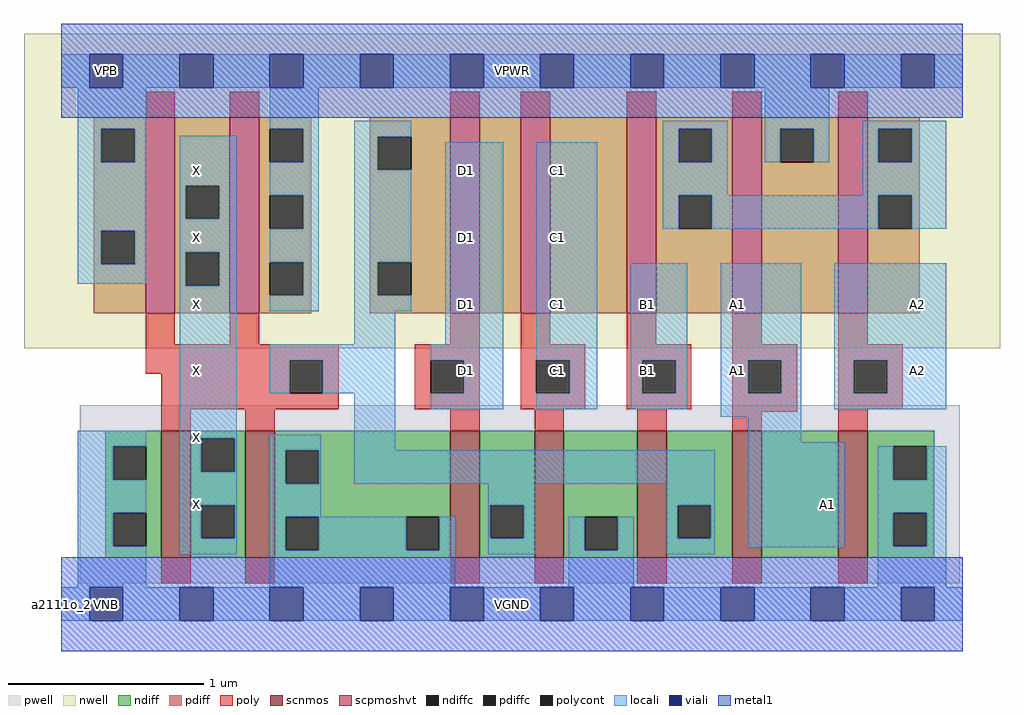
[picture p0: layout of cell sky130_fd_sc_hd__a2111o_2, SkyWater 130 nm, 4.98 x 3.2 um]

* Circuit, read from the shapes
.subckt sky130_fd_sc_hd__a2111o_2 A1 A2 B1 C1 D1 VGND VNB VPB VPWR X
XM1 X n1 VGND VNB sky130_fd_pr__nfet_01v8 w=0.65 l=0.15 m=2
XM2 n1 D1 VGND VNB sky130_fd_pr__nfet_01v8 w=0.65 l=0.15
XM3 VGND C1 n1 VNB sky130_fd_pr__nfet_01v8 w=0.65 l=0.15
XM4 n1 B1 VGND VNB sky130_fd_pr__nfet_01v8 w=0.65 l=0.15
XM5 n2 A1 n1 VNB sky130_fd_pr__nfet_01v8 w=0.65 l=0.15
XM6 VGND A2 n2 VNB sky130_fd_pr__nfet_01v8 w=0.65 l=0.15
XM7 X n1 VPWR VPB sky130_fd_pr__pfet_01v8_hvt w=1 l=0.15 m=2
XM8 n3 D1 n1 VPB sky130_fd_pr__pfet_01v8_hvt w=1 l=0.15
XM9 n4 C1 n3 VPB sky130_fd_pr__pfet_01v8_hvt w=1 l=0.15
XM10 n5 B1 n4 VPB sky130_fd_pr__pfet_01v8_hvt w=1 l=0.15
XM11 VPWR A1 n5 VPB sky130_fd_pr__pfet_01v8_hvt w=1 l=0.15
XM12 n5 A2 VPWR VPB sky130_fd_pr__pfet_01v8_hvt w=1 l=0.15
.ends

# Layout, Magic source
magic
tech sky130A
magscale 1 2
<< nwell >>
rect -38 261 958 582
<< pwell >>
rect 19 21 917 203
rect 29 -17 63 21
<< scnmos >>
rect 102 47 132 177
rect 188 47 218 177
rect 397 47 427 177
rect 483 47 513 177
rect 588 47 618 177
rect 685 47 715 177
rect 793 47 823 177
<< scpmoshvt >>
rect 86 297 116 497
rect 172 297 202 497
rect 397 297 427 497
rect 469 297 499 497
rect 577 297 607 497
rect 685 297 715 497
rect 793 297 823 497
<< ndiff >>
rect 45 161 102 177
rect 45 127 53 161
rect 87 127 102 161
rect 45 93 102 127
rect 45 59 53 93
rect 87 59 102 93
rect 45 47 102 59
rect 132 169 188 177
rect 132 135 143 169
rect 177 135 188 169
rect 132 101 188 135
rect 132 67 143 101
rect 177 67 188 101
rect 132 47 188 67
rect 218 157 397 177
rect 218 123 229 157
rect 263 123 397 157
rect 218 89 397 123
rect 218 55 229 89
rect 263 55 352 89
rect 386 55 397 89
rect 218 47 397 55
rect 427 101 483 177
rect 427 67 438 101
rect 472 67 483 101
rect 427 47 483 67
rect 513 89 588 177
rect 513 55 534 89
rect 568 55 588 89
rect 513 47 588 55
rect 618 101 685 177
rect 618 67 629 101
rect 663 67 685 101
rect 618 47 685 67
rect 715 47 793 177
rect 823 161 891 177
rect 823 127 849 161
rect 883 127 891 161
rect 823 93 891 127
rect 823 59 849 93
rect 883 59 891 93
rect 823 47 891 59
<< pdiff >>
rect 33 485 86 497
rect 33 451 41 485
rect 75 451 86 485
rect 33 381 86 451
rect 33 347 41 381
rect 75 347 86 381
rect 33 297 86 347
rect 116 427 172 497
rect 116 393 127 427
rect 161 393 172 427
rect 116 359 172 393
rect 116 325 127 359
rect 161 325 172 359
rect 116 297 172 325
rect 202 485 255 497
rect 202 451 213 485
rect 247 451 255 485
rect 202 417 255 451
rect 202 383 213 417
rect 247 383 255 417
rect 202 349 255 383
rect 202 315 213 349
rect 247 315 255 349
rect 202 297 255 315
rect 315 477 397 497
rect 315 443 323 477
rect 357 443 397 477
rect 315 349 397 443
rect 315 315 323 349
rect 357 315 397 349
rect 315 297 397 315
rect 427 297 469 497
rect 499 297 577 497
rect 607 485 685 497
rect 607 451 630 485
rect 664 451 685 485
rect 607 417 685 451
rect 607 383 630 417
rect 664 383 685 417
rect 607 297 685 383
rect 715 485 793 497
rect 715 451 734 485
rect 768 451 793 485
rect 715 297 793 451
rect 823 485 876 497
rect 823 451 834 485
rect 868 451 876 485
rect 823 417 876 451
rect 823 383 834 417
rect 868 383 876 417
rect 823 297 876 383
<< ndiffc >>
rect 53 127 87 161
rect 53 59 87 93
rect 143 135 177 169
rect 143 67 177 101
rect 229 123 263 157
rect 229 55 263 89
rect 352 55 386 89
rect 438 67 472 101
rect 534 55 568 89
rect 629 67 663 101
rect 849 127 883 161
rect 849 59 883 93
<< pdiffc >>
rect 41 451 75 485
rect 41 347 75 381
rect 127 393 161 427
rect 127 325 161 359
rect 213 451 247 485
rect 213 383 247 417
rect 213 315 247 349
rect 323 443 357 477
rect 323 315 357 349
rect 630 451 664 485
rect 630 383 664 417
rect 734 451 768 485
rect 834 451 868 485
rect 834 383 868 417
<< poly >>
rect 86 497 116 523
rect 172 497 202 523
rect 397 497 427 523
rect 469 497 499 523
rect 577 497 607 523
rect 685 497 715 523
rect 793 497 823 523
rect 86 265 116 297
rect 172 265 202 297
rect 397 265 427 297
rect 86 249 283 265
rect 86 235 233 249
rect 102 215 233 235
rect 267 215 283 249
rect 102 199 283 215
rect 361 249 427 265
rect 361 215 377 249
rect 411 215 427 249
rect 361 199 427 215
rect 469 265 499 297
rect 577 265 607 297
rect 685 265 715 297
rect 793 265 823 297
rect 469 249 535 265
rect 469 215 485 249
rect 519 215 535 249
rect 469 199 535 215
rect 577 249 643 265
rect 577 215 593 249
rect 627 215 643 249
rect 577 199 643 215
rect 685 249 751 265
rect 685 215 701 249
rect 735 215 751 249
rect 102 177 132 199
rect 188 177 218 199
rect 397 177 427 199
rect 483 177 513 199
rect 588 177 618 199
rect 685 196 751 215
rect 793 249 859 265
rect 793 215 809 249
rect 843 215 859 249
rect 793 199 859 215
rect 685 177 715 196
rect 793 177 823 199
rect 102 21 132 47
rect 188 21 218 47
rect 397 21 427 47
rect 483 21 513 47
rect 588 21 618 47
rect 685 21 715 47
rect 793 21 823 47
<< polycont >>
rect 233 215 267 249
rect 377 215 411 249
rect 485 215 519 249
rect 593 215 627 249
rect 701 215 735 249
rect 809 215 843 249
<< locali >>
rect 0 527 29 561
rect 63 527 121 561
rect 155 527 213 561
rect 247 527 305 561
rect 339 527 397 561
rect 431 527 489 561
rect 523 527 581 561
rect 615 527 673 561
rect 707 527 765 561
rect 799 527 857 561
rect 891 527 920 561
rect 17 485 87 527
rect 17 451 41 485
rect 75 451 87 485
rect 213 485 263 527
rect 17 381 87 451
rect 17 347 41 381
rect 75 347 87 381
rect 17 327 87 347
rect 121 427 179 478
rect 121 393 127 427
rect 161 393 179 427
rect 121 359 179 393
rect 121 325 127 359
rect 161 325 179 359
rect 17 161 87 177
rect 17 127 53 161
rect 17 93 87 127
rect 17 59 53 93
rect 17 17 87 59
rect 121 169 179 325
rect 247 451 263 485
rect 213 417 263 451
rect 247 383 263 417
rect 213 349 263 383
rect 247 315 263 349
rect 213 299 263 315
rect 299 477 357 493
rect 299 443 323 477
rect 614 485 680 493
rect 299 349 357 443
rect 299 315 323 349
rect 299 299 357 315
rect 299 265 341 299
rect 392 265 451 471
rect 213 249 341 265
rect 213 215 233 249
rect 267 215 341 249
rect 121 135 143 169
rect 177 135 179 169
rect 121 101 179 135
rect 121 67 143 101
rect 177 67 179 101
rect 121 51 179 67
rect 213 157 265 173
rect 213 123 229 157
rect 263 123 265 157
rect 299 157 341 215
rect 377 249 451 265
rect 411 215 451 249
rect 377 199 451 215
rect 485 249 547 471
rect 614 451 630 485
rect 664 451 680 485
rect 718 485 784 527
rect 718 451 734 485
rect 768 451 784 485
rect 818 485 903 493
rect 818 451 834 485
rect 868 451 903 485
rect 614 417 680 451
rect 818 417 903 451
rect 614 383 630 417
rect 664 383 834 417
rect 868 383 903 417
rect 519 215 547 249
rect 485 199 547 215
rect 581 249 639 348
rect 581 215 593 249
rect 627 215 639 249
rect 581 199 639 215
rect 673 249 755 348
rect 673 215 701 249
rect 735 215 755 249
rect 673 191 755 215
rect 789 249 903 348
rect 789 215 809 249
rect 843 215 903 249
rect 789 199 903 215
rect 701 165 755 191
rect 299 123 667 157
rect 213 89 265 123
rect 436 101 484 123
rect 213 55 229 89
rect 263 55 352 89
rect 386 55 402 89
rect 213 17 402 55
rect 436 67 438 101
rect 472 67 484 101
rect 618 101 667 123
rect 436 51 484 67
rect 518 55 534 89
rect 568 55 584 89
rect 518 17 584 55
rect 618 67 629 101
rect 663 67 667 101
rect 618 51 667 67
rect 701 58 799 165
rect 833 127 849 161
rect 883 127 903 161
rect 833 93 903 127
rect 833 59 849 93
rect 883 59 903 93
rect 833 17 903 59
rect 0 -17 29 17
rect 63 -17 121 17
rect 155 -17 213 17
rect 247 -17 305 17
rect 339 -17 397 17
rect 431 -17 489 17
rect 523 -17 581 17
rect 615 -17 673 17
rect 707 -17 765 17
rect 799 -17 857 17
rect 891 -17 920 17
<< viali >>
rect 29 527 63 561
rect 121 527 155 561
rect 213 527 247 561
rect 305 527 339 561
rect 397 527 431 561
rect 489 527 523 561
rect 581 527 615 561
rect 673 527 707 561
rect 765 527 799 561
rect 857 527 891 561
rect 29 -17 63 17
rect 121 -17 155 17
rect 213 -17 247 17
rect 305 -17 339 17
rect 397 -17 431 17
rect 489 -17 523 17
rect 581 -17 615 17
rect 673 -17 707 17
rect 765 -17 799 17
rect 857 -17 891 17
<< metal1 >>
rect 0 561 920 592
rect 0 527 29 561
rect 63 527 121 561
rect 155 527 213 561
rect 247 527 305 561
rect 339 527 397 561
rect 431 527 489 561
rect 523 527 581 561
rect 615 527 673 561
rect 707 527 765 561
rect 799 527 857 561
rect 891 527 920 561
rect 0 496 920 527
rect 0 17 920 48
rect 0 -17 29 17
rect 63 -17 121 17
rect 155 -17 213 17
rect 247 -17 305 17
rect 339 -17 397 17
rect 431 -17 489 17
rect 523 -17 581 17
rect 615 -17 673 17
rect 707 -17 765 17
rect 799 -17 857 17
rect 891 -17 920 17
rect 0 -48 920 -17
<< labels >>
flabel locali s 397 357 431 391 0 FreeSans 340 0 0 0 D1
port 5 nsew signal input
flabel locali s 673 289 707 323 0 FreeSans 340 0 0 0 A1
port 1 nsew signal input
flabel locali s 581 221 615 255 0 FreeSans 340 0 0 0 B1
port 3 nsew signal input
flabel locali s 489 289 523 323 0 FreeSans 340 0 0 0 C1
port 4 nsew signal input
flabel locali s 121 357 155 391 0 FreeSans 340 0 0 0 X
port 10 nsew signal output
flabel locali s 857 221 891 255 0 FreeSans 340 0 0 0 A2
port 2 nsew signal input
flabel locali s 397 221 431 255 0 FreeSans 340 0 0 0 D1
port 5 nsew signal input
flabel locali s 397 289 431 323 0 FreeSans 340 0 0 0 D1
port 5 nsew signal input
flabel locali s 121 289 155 323 0 FreeSans 340 0 0 0 X
port 10 nsew signal output
flabel locali s 121 221 155 255 0 FreeSans 340 0 0 0 X
port 10 nsew signal output
flabel locali s 121 153 155 187 0 FreeSans 340 0 0 0 X
port 10 nsew signal output
flabel locali s 121 85 155 119 0 FreeSans 340 0 0 0 X
port 10 nsew signal output
flabel locali s 121 425 155 459 0 FreeSans 340 0 0 0 X
port 10 nsew signal output
flabel locali s 489 221 523 255 0 FreeSans 340 0 0 0 C1
port 4 nsew signal input
flabel locali s 489 357 523 391 0 FreeSans 340 0 0 0 C1
port 4 nsew signal input
flabel locali s 489 425 523 459 0 FreeSans 340 0 0 0 C1
port 4 nsew signal input
flabel locali s 581 289 615 323 0 FreeSans 340 0 0 0 B1
port 3 nsew signal input
flabel locali s 673 221 707 255 0 FreeSans 340 0 0 0 A1
port 1 nsew signal input
flabel locali s 397 425 431 459 0 FreeSans 340 0 0 0 D1
port 5 nsew signal input
flabel locali s 765 85 799 119 0 FreeSans 340 0 0 0 A1
port 1 nsew signal input
flabel locali s 857 289 891 323 0 FreeSans 340 0 0 0 A2
port 2 nsew signal input
flabel pwell s 29 -17 63 17 0 FreeSans 200 0 0 0 VNB
port 7 nsew ground bidirectional
flabel nwell s 29 527 63 561 0 FreeSans 200 0 0 0 VPB
port 8 nsew power bidirectional
flabel metal1 s 29 -17 63 17 0 FreeSans 200 0 0 0 VGND
port 6 nsew ground bidirectional abutment
flabel metal1 s 29 527 63 561 0 FreeSans 200 0 0 0 VPWR
port 9 nsew power bidirectional abutment
rlabel comment s 0 0 0 0 4 a2111o_2
rlabel metal1 s 0 -48 920 48 1 VGND
port 6 nsew ground bidirectional abutment
rlabel metal1 s 0 496 920 592 1 VPWR
port 9 nsew power bidirectional abutment
<< properties >>
string FIXED_BBOX 0 0 920 544
string GDS_END 3751186
string GDS_FILE $PDKPATH/libs.ref/sky130_fd_sc_hd/gds/sky130_fd_sc_hd.gds
string GDS_START 3742126
string LEFclass CORE
string LEFsite unithd
string LEFsymmetry X Y R90
string path 0.000 0.000 23.000 0.000 
<< end >>
